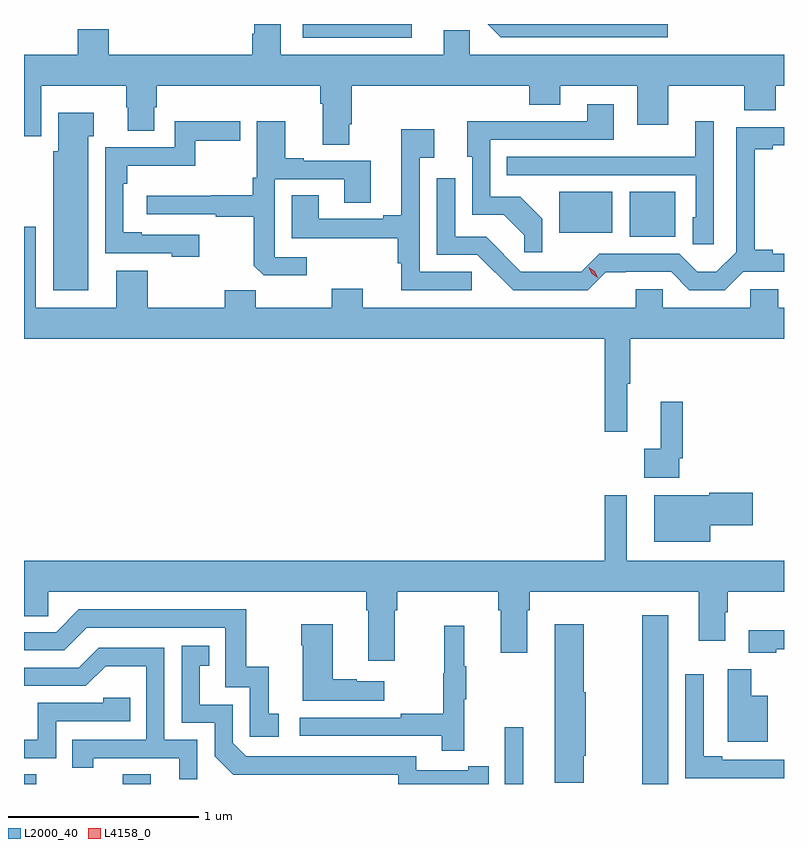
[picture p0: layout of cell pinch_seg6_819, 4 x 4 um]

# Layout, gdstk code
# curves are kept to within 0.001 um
import gdstk
lib = gdstk.Library(unit=1e-6, precision=1e-09)
def R(c, l, rs):  # rectangles x0, y0, x1, y1
    for r in rs: c.add(gdstk.rectangle(r[:2], r[2:], *l))
def P(c, l, *ps):  # polygons
    for p in ps: c.add(gdstk.Polygon(p, *l))
L2000_40 = (2000, 40)
L4158_0 = (4158, 0)

pinch_seg6_819 = lib.new_cell('pinch_seg6_819')
R(pinch_seg6_819, L2000_40, [(167.651,972.965,167.715,973.016), (168.172,972.965,168.319,973.016), (170.181,972.965,170.278,973.264), (170.905,972.965,171.043,973.852), (170.84,975.845,171.079,976.081), (170.468,975.866,170.746,976.081), (169.119,976.893,169.693,976.965)])
P(pinch_seg6_819, L2000_40, [(169.363,976.438),(169.376,976.438),(169.376,976.64),(170.309,976.64),(170.309,976.541),(170.473,976.541),(170.473,976.64),(170.879,976.64),(170.879,976.434),(171.043,976.434),(171.043,976.64),(171.443,976.64),(171.443,976.512),(171.607,976.512),(171.607,976.64),(171.651,976.64),(171.651,976.804),(169.998,976.804),(169.998,976.931),(169.859,976.931),(169.859,976.804),(169.003,976.804),(169.003,976.965),(168.864,976.965),(168.864,976.913),(168.851,976.913),(168.851,976.804),(168.098,976.804),(168.098,976.937),(167.933,976.937),(167.933,976.804),(167.651,976.804),(167.651,976.374),(167.743,976.374),(167.743,976.64),(168.19,976.64),(168.19,976.527),(168.197,976.527),(168.197,976.402),(168.337,976.402),(168.337,976.527),(168.35,976.527),(168.35,976.64),(169.211,976.64),(169.211,976.544),(169.223,976.544),(169.223,976.33),(169.363,976.33)],
  [(171.04,976.965),(170.091,976.965),(170.16,976.896),(171.04,976.896)],
  [(170.379,975.94),(170.263,976.056),(170.106,976.056),(170.106,976.356),(170.755,976.356),(170.755,976.543),(170.615,976.543),(170.615,976.452),(170.203,976.452),(170.203,976.454),(169.985,976.454),(169.985,976.266),(170.01,976.266),(170.01,975.96),(170.176,975.96),(170.284,975.852),(170.284,975.765),(170.379,975.765)],
  [(167.989,976.373),(168.019,976.373),(168.019,976.498),(167.831,976.498),(167.831,976.296),(167.804,976.296),(167.804,975.563),(167.989,975.563)],
  [(168.574,975.855),(168.271,975.855),(168.271,975.868),(168.174,975.868),(168.174,976.124),(168.194,976.124),(168.194,976.22),(168.553,976.22),(168.553,976.351),(168.79,976.351),(168.79,976.454),(168.444,976.454),(168.444,976.317),(168.078,976.317),(168.078,975.759),(168.429,975.759),(168.429,975.74),(168.574,975.74)],
  [(169.138,975.738),(168.972,975.738),(168.972,976.149),(169.337,976.149),(169.337,976.024),(169.477,976.024),(169.477,976.245),(169.123,976.245),(169.123,976.258),(169.027,976.258),(169.027,976.453),(168.876,976.453),(168.876,976.156),(168.856,976.156),(168.856,976.064),(168.637,976.064),(168.637,976.06),(168.297,976.06),(168.297,975.963),(168.661,975.963),(168.661,975.951),(168.861,975.951),(168.861,975.693),(168.913,975.642),(169.138,975.642)],
  [(171.282,976.453),(171.185,976.453),(171.185,976.267),(170.851,976.267),(170.851,976.266),(170.191,976.266),(170.191,976.17),(171.186,976.17),(171.186,975.948),(171.17,975.948),(171.17,975.805),(171.282,975.805)],
  [(170.714,975.659),(171.057,975.66),(171.153,975.564),(171.34,975.564),(171.436,975.66),(171.651,975.66),(171.651,975.756),(171.592,975.756),(171.592,975.776),(171.496,975.776),(171.496,976.306),(171.592,976.306),(171.592,976.326),(171.651,976.326),(171.651,976.422),(171.399,976.422),(171.399,975.765),(171.295,975.661),(171.194,975.661),(171.099,975.756),(170.679,975.756),(170.585,975.662),(170.48,975.662),(170.48,975.66),(170.265,975.66),(170.175,975.75),(170.177,975.752),(170.083,975.846),(169.92,975.846),(169.92,976.153),(169.824,976.153),(169.824,975.75),(170.037,975.75),(170.225,975.564),(170.619,975.564)],
  [(170.007,975.66),(169.734,975.66),(169.734,976.262),(169.81,976.262),(169.81,976.411),(169.637,976.411),(169.637,975.959),(169.541,975.959),(169.541,975.939),(169.201,975.939),(169.201,976.064),(169.061,976.064),(169.061,975.838),(169.618,975.838),(169.618,975.707),(169.637,975.707),(169.637,975.564),(170.007,975.564)],
  [(170.825,975.072),(170.843,975.072),(170.843,975.308),(171.651,975.308),(171.651,975.472),(171.621,975.472),(171.621,975.57),(171.474,975.57),(171.474,975.472),(171.012,975.472),(171.012,975.57),(170.87,975.57),(170.87,975.472),(169.435,975.472),(169.435,975.571),(169.271,975.571),(169.271,975.472),(168.871,975.472),(168.871,975.565),(168.707,975.565),(168.707,975.472),(168.301,975.472),(168.301,975.667),(168.137,975.667),(168.137,975.472),(167.713,975.472),(167.713,975.898),(167.651,975.898),(167.651,975.308),(170.707,975.308),(170.707,974.82),(170.825,974.82)],
  [(171.099,974.68),(171.119,974.68),(171.119,974.977),(171.002,974.977),(171.002,974.729),(170.916,974.729),(170.916,974.576),(171.099,974.576)],
  [(171.262,974.327),(171.487,974.327),(171.487,974.498),(171.258,974.498),(171.258,974.485),(170.969,974.485),(170.969,974.24),(171.262,974.24)],
  [(169.603,973.88),(169.616,973.88),(169.616,973.976),(170.147,973.976),(170.147,973.88),(170.159,973.88),(170.159,973.656),(170.299,973.656),(170.299,973.88),(170.312,973.88),(170.312,973.976),(171.203,973.976),(171.203,973.719),(171.343,973.719),(171.343,973.87),(171.356,973.87),(171.356,973.976),(171.651,973.976),(171.651,974.14),(170.824,974.14),(170.824,974.485),(170.707,974.485),(170.707,974.14),(167.651,974.14),(167.651,973.849),(167.778,973.849),(167.778,973.976),(169.451,973.976),(169.451,973.88),(169.463,973.88),(169.463,973.614),(169.603,973.614)],
  [(168.991,973.335),(168.938,973.335),(168.938,973.582),(168.82,973.582),(168.82,973.884),(167.94,973.884),(167.82,973.764),(167.651,973.764),(167.651,973.668),(167.862,973.668),(167.982,973.788),(168.711,973.788),(168.711,973.473),(168.84,973.473),(168.84,973.215),(168.991,973.215)],
  [(169.546,973.507),(169.403,973.507),(169.403,973.517),(169.276,973.517),(169.276,973.807),(169.111,973.807),(169.111,973.694),(169.118,973.694),(169.118,973.403),(169.546,973.403)],
  [(170.598,973.113),(170.608,973.113),(170.608,973.449),(170.598,973.449),(170.598,973.807),(170.444,973.807),(170.444,972.972),(170.598,972.972)],
  [(169.967,973.411),(169.978,973.411),(169.978,973.585),(169.967,973.585),(169.967,973.798),(169.864,973.798),(169.864,973.548),(169.857,973.548),(169.857,973.334),(169.633,973.334),(169.633,973.314),(169.101,973.314),(169.101,973.218),(169.849,973.218),(169.849,973.14),(169.967,973.14)],
  [(171.609,973.673),(171.651,973.673),(171.651,973.774),(171.465,973.774),(171.465,973.655),(171.609,973.655)],
  [(170.096,973.058),(169.988,973.058),(169.988,973.038),(169.716,973.038),(169.716,973.11),(168.822,973.11),(168.75,973.182),(168.75,973.383),(168.577,973.383),(168.577,973.587),(168.626,973.587),(168.626,973.693),(168.48,973.693),(168.48,973.287),(168.654,973.287),(168.654,973.11),(168.752,973.013),(169.62,973.014),(169.62,972.965),(170.096,972.965)],
  [(168.564,973.197),(168.39,973.197),(168.39,973.683),(168.044,973.683),(167.939,973.578),(167.651,973.578),(167.651,973.482),(167.976,973.482),(168.08,973.586),(168.294,973.586),(168.294,973.197),(167.905,973.197),(167.905,973.05),(168.016,973.05),(168.016,973.101),(168.467,973.101),(168.467,972.99),(168.564,972.99)],
  [(171.565,973.429),(171.478,973.429),(171.478,973.57),(171.356,973.57),(171.356,973.187),(171.565,973.187)],
  [(171.651,973.092),(171.325,973.092),(171.325,973.112),(171.228,973.112),(171.228,973.543),(171.132,973.543),(171.132,972.996),(171.514,972.996),(171.514,972.995),(171.651,972.995)],
  [(167.82,973.296),(168.209,973.296),(168.209,973.419),(168.069,973.419),(168.069,973.392),(167.724,973.392),(167.724,973.197),(167.651,973.197),(167.651,973.101),(167.82,973.101)])
P(pinch_seg6_819, L4158_0, [(170.671,975.63),(170.64,975.651),(170.624,975.685),(170.624,975.685),(170.624,975.685),(170.656,975.664),(170.672,975.631),(170.672,975.63)])

lib.write_gds('pinch_seg6_819.gds')
